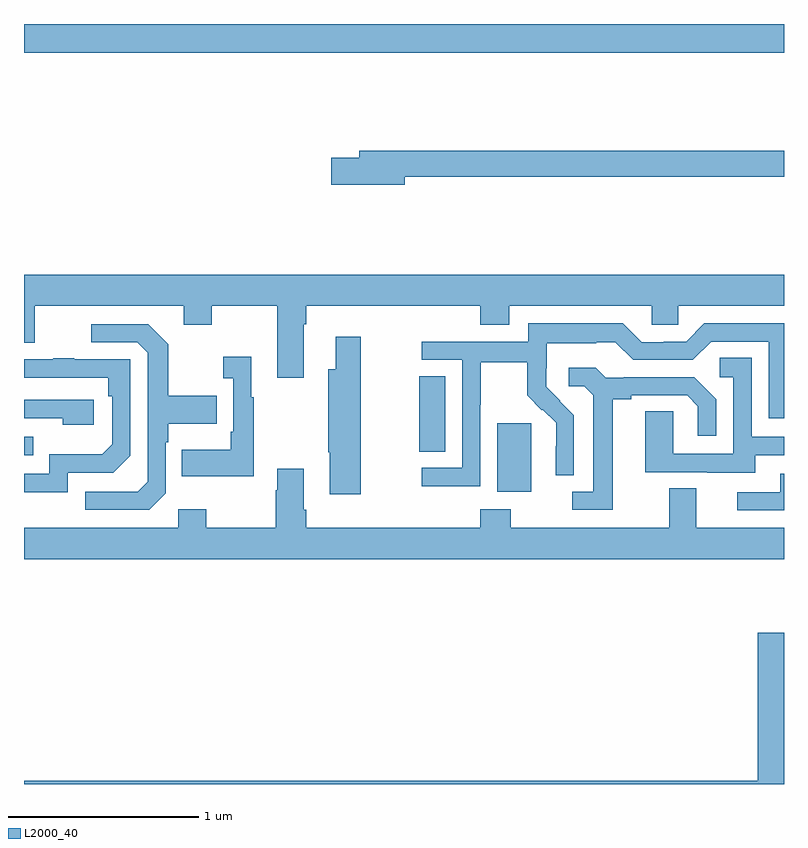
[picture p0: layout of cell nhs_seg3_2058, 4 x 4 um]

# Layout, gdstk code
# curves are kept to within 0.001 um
import gdstk
lib = gdstk.Library(unit=1e-6, precision=1e-09)
def R(c, l, rs):  # rectangles x0, y0, x1, y1
    for r in rs: c.add(gdstk.rectangle(r[:2], r[2:], *l))
def P(c, l, *ps):  # polygons
    for p in ps: c.add(gdstk.Polygon(p, *l))
L2000_40 = (2000, 40)

nhs_seg3_2058 = lib.new_cell('nhs_seg3_2058')
R(nhs_seg3_2058, L2000_40, [(219.491,699.938,219.67,700.299), (217,700.131,217.049,700.227), (219.079,700.15,219.217,700.547), (217,702.248,221,702.4)])
P(nhs_seg3_2058, L2000_40, [(219.004,701.596),(221,701.596),(221,701.732),(218.765,701.732),(218.765,701.696),(218.616,701.696),(218.616,701.554),(219.004,701.554)],
  [(218.473,700.82),(218.486,700.82),(218.486,700.916),(219.401,700.916),(219.401,700.817),(219.553,700.817),(219.553,700.916),(220.305,700.916),(220.305,700.818),(220.443,700.818),(220.443,700.916),(221,700.916),(221,701.08),(217,701.08),(217,700.722),(217.057,700.722),(217.057,700.916),(217.841,700.916),(217.841,700.817),(217.989,700.817),(217.989,700.916),(218.333,700.916),(218.333,700.539),(218.473,700.539)],
  [(219.402,700.396),(219.405,700.396),(219.405,700.62),(219.649,700.62),(219.649,700.445),(219.726,700.368),(219.729,700.371),(219.8,700.301),(219.8,700.178),(219.798,700.178),(219.798,700.024),(219.894,700.024),(219.894,700.342),(219.748,700.49),(219.748,700.587),(219.75,700.587),(219.75,700.721),(220.013,700.721),(220.013,700.725),(220.113,700.725),(220.206,700.632),(220.521,700.632),(220.617,700.728),(220.92,700.728),(220.92,700.326),(221,700.326),(221,700.824),(220.581,700.824),(220.485,700.728),(220.367,700.728),(220.367,700.725),(220.251,700.725),(220.151,700.825),(219.654,700.825),(219.654,700.728),(219.093,700.728),(219.093,700.632),(219.306,700.632),(219.306,700.065),(219.093,700.065),(219.093,699.967),(219.402,699.967)],
  [(217.746,699.93),(217.746,700.199),(217.759,700.199),(217.759,700.295),(218.015,700.295),(218.015,700.443),(217.759,700.443),(217.759,700.715),(217.653,700.821),(217.353,700.821),(217.353,700.725),(217.596,700.725),(217.65,700.671),(217.65,699.99),(217.599,699.939),(217.323,699.939),(217.323,699.843),(217.659,699.843)],
  [(218.772,700.753),(218.642,700.753),(218.642,700.582),(218.602,700.582),(218.602,700.147),(218.609,700.147),(218.609,699.924),(218.772,699.924)],
  [(218.209,700.435),(218.197,700.435),(218.197,700.648),(218.049,700.648),(218.049,700.535),(218.1,700.535),(218.1,700.255),(218.088,700.255),(218.088,700.159),(217.831,700.159),(217.831,700.019),(218.209,700.019)],
  [(220.849,700.131),(221,700.131),(221,700.227),(220.83,700.227),(220.83,700.643),(220.662,700.643),(220.662,700.542),(220.734,700.542),(220.734,700.137),(220.416,700.137),(220.416,700.361),(220.271,700.361),(220.271,700.041),(220.595,700.041),(220.595,700.037),(220.849,700.037)],
  [(217.23,700.038),(217.47,700.038),(217.56,700.128),(217.56,700.635),(217.265,700.635),(217.265,700.64),(217.153,700.64),(217.153,700.635),(217,700.635),(217,700.539),(217.444,700.539),(217.444,700.442),(217.464,700.442),(217.464,700.188),(217.411,700.135),(217.134,700.135),(217.134,700.032),(217,700.032),(217,699.936),(217.23,699.936)],
  [(220.099,700.424),(220.195,700.424),(220.195,700.446),(220.49,700.446),(220.547,700.389),(220.547,700.233),(220.644,700.233),(220.644,700.426),(220.528,700.542),(220.156,700.542),(220.156,700.539),(220.062,700.539),(220.01,700.591),(219.867,700.591),(219.867,700.494),(219.948,700.494),(219.995,700.447),(219.995,699.939),(219.885,699.939),(219.885,699.843),(220.099,699.843)],
  [(217.366,700.422),(217,700.422),(217,700.326),(217.205,700.326),(217.205,700.292),(217.366,700.292)],
  [(219.401,699.847),(219.401,699.748),(218.486,699.748),(218.486,699.844),(218.473,699.844),(218.473,700.06),(218.333,700.06),(218.333,699.947),(218.326,699.947),(218.326,699.748),(217.959,699.748),(217.959,699.847),(217.812,699.847),(217.812,699.748),(217,699.748),(217,699.584),(221,699.584),(221,699.748),(220.537,699.748),(220.537,699.956),(220.397,699.956),(220.397,699.748),(219.561,699.748),(219.561,699.847)],
  [(221,700.032),(220.979,700.032),(220.979,699.936),(220.755,699.936),(220.755,699.84),(221,699.84)],
  [(221,699.196),(220.862,699.196),(220.862,698.416),(217,698.416),(217,698.4),(221,698.4)])

lib.write_gds('nhs_seg3_2058.gds')
